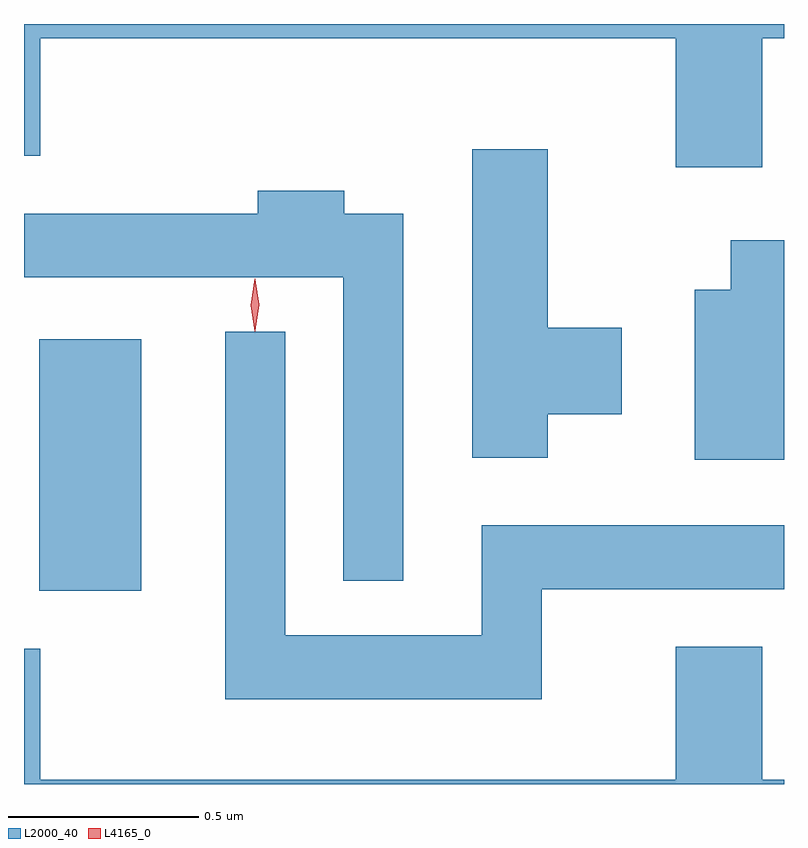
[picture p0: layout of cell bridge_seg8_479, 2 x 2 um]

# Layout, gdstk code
import gdstk
lib = gdstk.Library(unit=1e-6, precision=1e-09)
def R(c, l, rs):  # rectangles x0, y0, x1, y1
    for r in rs: c.add(gdstk.rectangle(r[:2], r[2:], *l))
def P(c, l, *ps):  # polygons
    for p in ps: c.add(gdstk.Polygon(p, *l))
L2000_40 = (2000, 40)
L4165_0 = (4165, 0)

bridge_seg8_479 = lib.new_cell('bridge_seg8_479')
R(bridge_seg8_479, L2000_40, [(541.606,1937.081,541.874,1937.744)])
P(bridge_seg8_479, L2000_40, [(543.509,1938.536),(543.566,1938.536),(543.566,1938.573),(541.566,1938.573),(541.566,1938.226),(541.609,1938.226),(541.609,1938.536),(543.281,1938.536),(543.281,1938.196),(543.509,1938.196)],
  [(542.944,1937.546),(543.139,1937.546),(543.139,1937.774),(542.944,1937.774),(542.944,1938.244),(542.746,1938.244),(542.746,1937.431),(542.944,1937.431)],
  [(542.564,1938.074),(542.409,1938.074),(542.409,1938.134),(542.181,1938.134),(542.181,1938.074),(541.566,1938.074),(541.566,1937.906),(542.406,1937.906),(542.406,1937.108),(542.564,1937.108)],
  [(543.566,1938.004),(543.426,1938.004),(543.426,1937.874),(543.331,1937.874),(543.331,1937.426),(543.566,1937.426)],
  [(542.929,1937.086),(543.566,1937.086),(543.566,1937.254),(542.771,1937.254),(542.771,1936.964),(542.254,1936.964),(542.254,1937.763),(542.096,1937.763),(542.096,1936.796),(542.929,1936.796)],
  [(543.566,1936.584),(543.509,1936.584),(543.509,1936.934),(543.281,1936.934),(543.281,1936.584),(541.609,1936.584),(541.609,1936.929),(541.566,1936.929),(541.566,1936.573),(543.566,1936.573)])
P(bridge_seg8_479, L4165_0, [(542.173,1937.763),(542.173,1937.764),(542.163,1937.833),(542.173,1937.902),(542.173,1937.903),(542.174,1937.902),(542.183,1937.833),(542.174,1937.764)],
  [(542.174,1937.767),(542.165,1937.834),(542.174,1937.9),(542.175,1937.901),(542.175,1937.9),(542.185,1937.834),(542.175,1937.767),(542.175,1937.767)])

lib.write_gds('bridge_seg8_479.gds')
